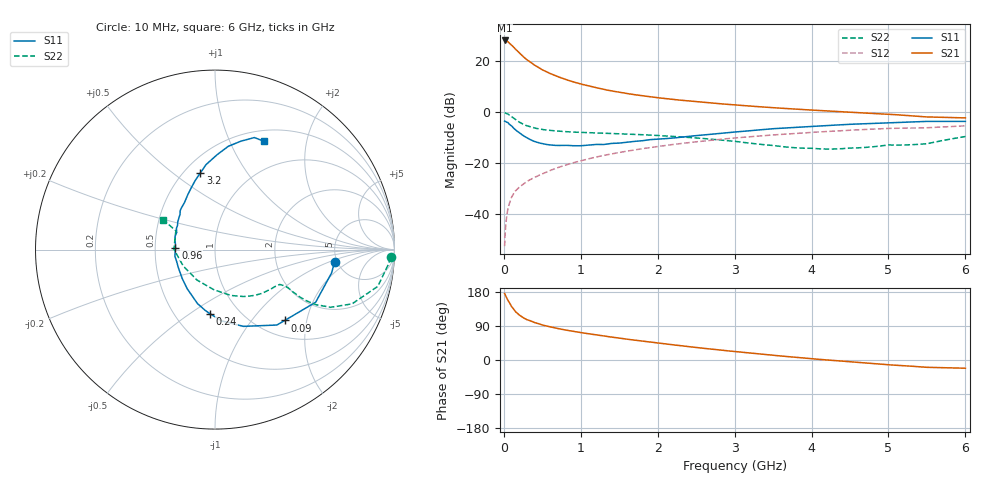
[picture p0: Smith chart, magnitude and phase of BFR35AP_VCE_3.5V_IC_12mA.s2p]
! Infineon Technologies  Discrete & RF Semiconductors
! BFR35AP
! VCE =  3.5 V,  IC =  12 mA
! Common Emitter S-Parameters:  Nov 2015
# GHz  S  MA  R  50
!  f  S11  S21  S12  S22
! GHz  MAG  ANG  MAG  ANG  MAG  ANG  MAG  ANG
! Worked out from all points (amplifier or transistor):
!   210 points, 10 MHz to 6 GHz, reference 50 ohm
!   highest |S21| = 28.1 dB at 10 MHz (marker M1)
!   |S21| within 3 dB of that: start of sweep to 138.6 MHz
!   unconditionally stable (mu >= 1): 497.2 MHz to 3.275 GHz
!   at 185 MHz: K = 0.61, MSG = 26.7 dB, |S12| = -29.8 dB
!   at 1.52 GHz: K = 1.10, MAG = 9.7 dB, |S12| = -15.6 dB
!   at 6 GHz: K = 0.95, MSG = 1.6 dB, |S12| = -5.3 dB
!   S11 on the Smith chart (normalised r, x): 10 MHz: 4.77, -1.15; 90 MHz: 1.31, -1.49; 240 MHz: 0.74, -0.61; 960 MHz: 0.64, +0.01; 3.2 GHz: 0.60, +0.63; 6 GHz: 0.63, +1.35
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0.01  0.6701 -5.7  25.35 175.4  0.0024 88.7  0.9804 -2.5
0.02  0.6625 -11.3  25.22 170.7  0.005 84.1  0.9672 -5.2
0.05  0.6329 -27.6  24.16 158.3  0.0122 77.5  0.9301 -12.7
0.09  0.5538 -45.5  21.25 145.0  0.0198 71.3  0.8415 -19.6
0.1  0.5438 -50.6  20.72 141.2  0.0217 70.4  0.8215 -21.6
0.15  0.4561 -69.7  17.25 127.6  0.0288 65.1  0.7201 -26.5
0.2  0.3991 -84.5  14.51 118.7  0.034 63.5  0.6411 -28.6
0.24  0.3596 -94.2  12.7 113.3  0.0379 62.8  0.5955 -29.1
0.3  0.3161 -108.0  10.64 106.4  0.0443 63.2  0.5435 -29.2
0.4  0.2675 -125.4  8.325 98.8  0.0531 64.3  0.4899 -28.4
0.5  0.2433 -138.8  6.763 92.4  0.0622 65.6  0.4586 -27.6
0.6  0.2294 -151.6  5.74 87.5  0.0723 66.0  0.4411 -27.5
0.7  0.2238 -162.1  4.978 83.0  0.0824 66.3  0.4278 -27.8
0.96  0.2207 177.1  3.708 73.7  0.1083 65.9  0.4061 -28.9
1.02  0.2222 172.8  3.506 71.7  0.1143 65.7  0.4028 -29.6
1.4  0.2454 151.1  2.611 60.4  0.1525 63.2  0.3838 -34.4
2.02  0.2988 128.5  1.908 44.4  0.2154 57.3  0.3494 -45.3
3.1  0.4221 102.7  1.354 20.4  0.3226 44.5  0.2586 -74.4
3.2  0.4351 100.8  1.319 18.5  0.3316 43.1  0.2479 -78.2
4.1  0.5388 87.4  1.081 1.7  0.4119 31.6  0.1926 -126.9
5.1  0.6285 75.3  0.894 -13.8  0.4847 17.6  0.2279 174.3
6  0.6619 65.5  0.775 -21.7  0.5417 7.4  0.3348 150.0
